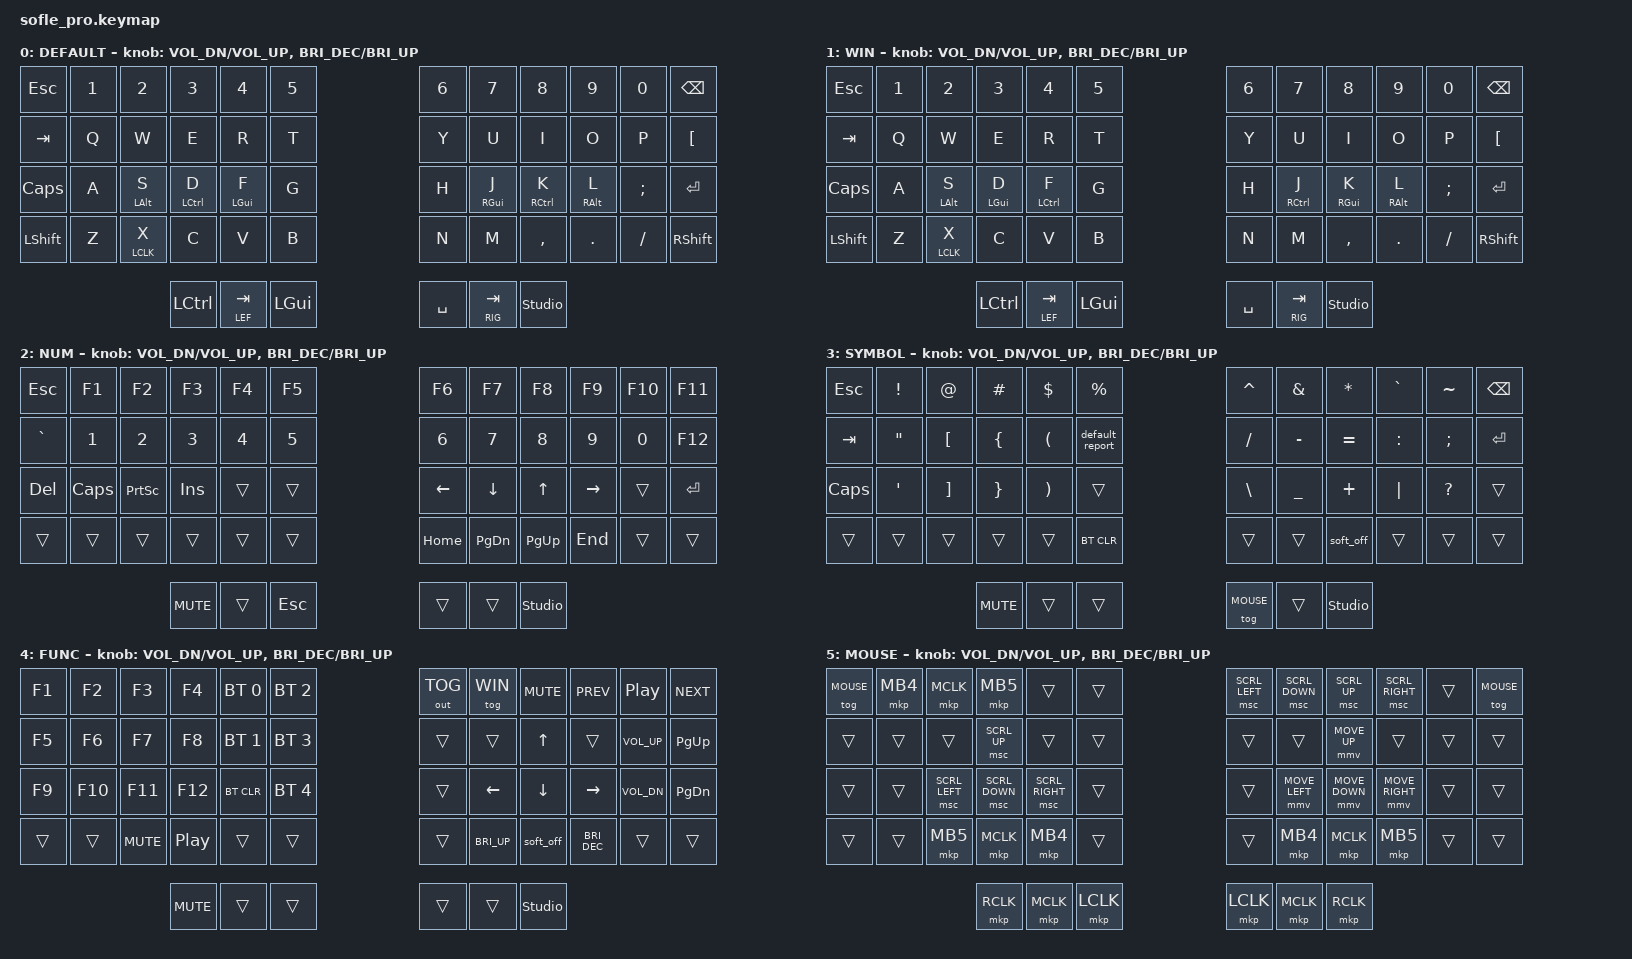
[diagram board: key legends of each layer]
// Copyright (c) 2022 The ZMK Contributors
// SPDX-License-Identifier: MIT
// #include <dt-bindings/zmk/rgb.h>

#define ZMK_POINTING_DEFAULT_MOVE_VAL 2500// 600
#define ZMK_POINTING_DEFAULT_SCRL_VAL 20// 10

#include <behaviors.dtsi>
#include <dt-bindings/zmk/bt.h>
#include <dt-bindings/zmk/keys.h>
#include <dt-bindings/zmk/outputs.h>
#include <dt-bindings/zmk/pointing.h>

#include "behaviors/character_map.dtsi"
#include "behaviors/report.dtsi"

#define MAC 0
#define WIN 1
#define RIG 2
#define LEF 3
#define TRI 4
#define MOUSE 5

&sensors {
	left_encoder {
		triggers-per-rotation = <15>;
	};
	right_encoder {
		triggers-per-rotation = <45>;
	};
};

/ {
	behaviors {
		sel_x: select_x {
			compatible = "zmk,behavior-hold-tap";
			#binding-cells = <2>;
			flavor = "tap-preferred";
			tapping-term-ms = <200>;
			quick-tap-ms = <150>;
			require-prior-idle-ms = <125>;
			bindings = <&mkp>, <&kp>;
		};

		ht: hold_tap {
			label = "hold_tap";
			compatible = "zmk,behavior-hold-tap";
			#binding-cells = <2>;
			flavor = "balanced";
			tapping-term-ms = <200>;
			quick-tap-ms = <150>;
			require-prior-idle-ms = <125>;
			global-quick-tap;
			bindings = <&kp>, <&kp>;
		};
		mmv {
			acceleration-exponent = <1>;// 1
			time-to-max-speed-ms = <300>;// 40
			delay-ms = <0>;// 0
		};
		msc {
			acceleration-exponent = <0>;// 0
			time-to-max-speed-ms = <40>;// 500
			delay-ms = <0>;// 10
		};
	};

	conditional_layers {
		compatible = "zmk,conditional-layers";

		tri_layer {
			if-layers = <RIG LEF>;
			then-layer = <TRI>;
		};
	};

	keymap {
		compatible = "zmk,keymap";

		default_layer {
			display-name = "DEFAULT";
			bindings = <
			&kp ESC     &kp N1           &kp N2        &kp N3       &kp N4      &kp N5        &kp N6      &kp N7        &kp N8        &kp N9       &kp N0      &kp BSPC
			&kp TAB     &kp Q            &kp W         &kp E        &kp R       &kp T         &kp Y       &kp U         &kp I         &kp O        &kp P       &kp LBKT
			&kp CAPS    &kp A            &ht LALT S    &ht LCTRL D  &ht LGUI F  &kp G         &kp H       &ht RGUI J    &ht RCTRL K   &ht RALT L   &kp SEMI    &kp ENTER
			&kp LSHIFT  &kp Z            &sel_x LCLK X &kp C        &kp V       &kp B         &kp N       &kp M         &kp COMMA     &kp DOT      &kp FSLH    &kp RSHIFT
			                            &kp LCTRL     &lt LEF TAB  &kp LGUI        &kp SPACE    &lt RIG TAB  &studio_unlock
			>;
			sensor-bindings = <&inc_dec_kp C_VOL_DN C_VOL_UP &inc_dec_kp C_BRI_DEC C_BRI_UP>;
		};

		windows_layer {
			display-name = "WIN";
			bindings = <
			&kp ESC     &kp N1           &kp N2       &kp N3       &kp N4       &kp N5        &kp N6      &kp N7        &kp N8       &kp N9       &kp N0      &kp BSPC
			&kp TAB     &kp Q            &kp W        &kp E        &kp R        &kp T         &kp Y       &kp U         &kp I        &kp O        &kp P       &kp LBKT
			&kp CAPS    &kp A            &ht LALT S   &ht LGUI D   &ht LCTRL F  &kp G         &kp H       &ht RCTRL J   &ht RGUI K   &ht RALT L   &kp SEMI    &kp ENTER
			&kp LSHIFT  &kp Z            &sel_x LCLK X &kp C       &kp V        &kp B         &kp N       &kp M         &kp COMMA    &kp DOT      &kp FSLH    &kp RSHIFT
			                            &kp LCTRL    &lt LEF TAB  &kp LGUI         &kp SPACE    &lt RIG TAB  &studio_unlock
			>;
			sensor-bindings = <&inc_dec_kp C_VOL_DN C_VOL_UP &inc_dec_kp C_BRI_DEC C_BRI_UP>;
		};

		right_layer {
			display-name = "NUM";
			bindings = <
			&kp ESC    &kp F1    &kp F2    &kp F3    &kp F4    &kp F5       &kp F6     &kp F7     &kp F8     &kp F9     &kp F10    &kp F11
			&kp GRAVE  &kp N1    &kp N2    &kp N3    &kp N4    &kp N5       &kp N6     &kp N7     &kp N8     &kp N9     &kp N0     &kp F12
			&kp DEL    &kp CAPS  &kp PSCRN &kp INS   &trans    &trans       &kp LEFT   &kp DOWN   &kp UP     &kp RIGHT  &trans     &kp ENTER
			&trans     &trans    &trans    &trans    &trans    &trans       &kp HOME   &kp PG_DN  &kp PG_UP  &kp END    &trans     &trans
			                    &kp C_MUTE &trans    &kp ESC        &trans    &trans    &studio_unlock
			>;
			sensor-bindings = <&inc_dec_kp C_VOL_DN C_VOL_UP &inc_dec_kp C_BRI_DEC C_BRI_UP>;
		};

		left_layer {
			display-name = "SYMBOL";
			bindings = <
			&kp ESC   &kp EXCL  &kp AT    &kp HASH  &kp DLLR  &kp PRCNT     &kp CARET  &kp AMPS   &kp ASTRK  &kp GRAVE  &kp TILDE  &kp BSPC
			&kp TAB   &kp DQT   &kp LBKT  &kp LBRC  &kp LPAR  &default_report &kp FSLH &kp MINUS  &kp EQUAL  &kp COLON  &kp SEMI   &kp ENTER
			&kp CAPS  &kp SQT   &kp RBKT  &kp RBRC  &kp RPAR  &trans       &kp BSLH   &kp UNDER  &kp PLUS   &kp PIPE   &kp QMARK  &trans
			&trans    &trans    &trans    &trans    &trans    &bt BT_CLR   &trans     &trans     &soft_off  &trans     &trans     &trans
			                  &kp C_MUTE &trans    &trans        &tog MOUSE &trans     &studio_unlock
			>;
			sensor-bindings = <&inc_dec_kp C_VOL_DN C_VOL_UP &inc_dec_kp C_BRI_DEC C_BRI_UP>;
		};

		tri_layer {
			display-name = "FUNC";
			bindings = <
			&kp F1  &kp F2   &kp F3   &kp F4   &bt BT_SEL 0  &bt BT_SEL 2   &out OUT_TOG  &tog WIN    &kp C_MUTE    &kp C_PREV    &kp C_PP    &kp C_NEXT
			&kp F5  &kp F6   &kp F7   &kp F8   &bt BT_SEL 1  &bt BT_SEL 3   &trans        &trans      &kp UP        &trans        &kp C_VOL_UP &kp PG_UP
			&kp F9  &kp F10  &kp F11  &kp F12  &bt BT_CLR    &bt BT_SEL 4   &trans        &kp LEFT    &kp DOWN      &kp RIGHT     &kp C_VOL_DN &kp PG_DN
			&trans  &trans   &kp C_MUTE &kp C_PP &trans      &trans         &trans        &kp C_BRI_UP &soft_off    &kp C_BRI_DEC &trans      &trans
			                  &kp C_MUTE &trans  &trans          &trans       &trans        &studio_unlock
			>;
			sensor-bindings = <&inc_dec_kp C_VOL_DN C_VOL_UP &inc_dec_kp C_BRI_DEC C_BRI_UP>;
		};

		mouse {
			display-name = "MOUSE";
			bindings = <
			&tog MOUSE  &mkp MB4  &mkp MCLK      &mkp MB5       &trans          &trans       &msc SCRL_LEFT    &msc SCRL_DOWN   &msc SCRL_UP     &msc SCRL_RIGHT   &trans     &tog MOUSE
			&trans      &trans    &trans         &msc SCRL_UP   &trans          &trans       &trans            &trans           &mmv MOVE_UP     &trans            &trans     &trans
			&trans      &trans    &msc SCRL_LEFT &msc SCRL_DOWN &msc SCRL_RIGHT &trans       &trans            &mmv MOVE_LEFT   &mmv MOVE_DOWN   &mmv MOVE_RIGHT   &trans     &trans
			&trans      &trans    &mkp MB5       &mkp MCLK      &mkp MB4        &trans       &trans            &mkp MB4         &mkp MCLK        &mkp MB5          &trans     &trans
			                    &mkp RCLK       &mkp MCLK      &mkp LCLK         &mkp LCLK     &mkp MCLK         &mkp RCLK
			>;
			sensor-bindings = <&inc_dec_kp C_VOL_DN C_VOL_UP &inc_dec_kp C_BRI_DEC C_BRI_UP>;
		};
	};
};
